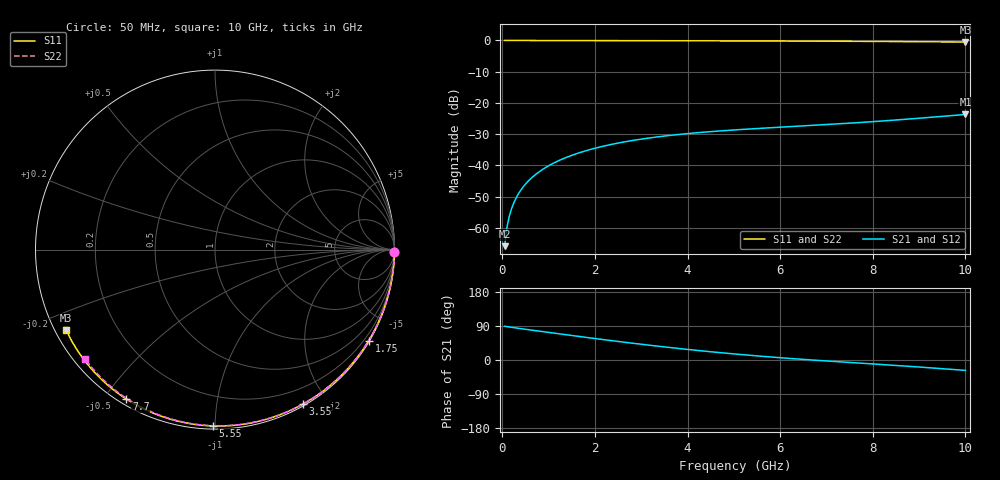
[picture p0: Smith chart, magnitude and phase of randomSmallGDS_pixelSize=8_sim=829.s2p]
! freq	dB(S11)	phase(S11)	dB(S12)	phase(S12)
!  dB(S21)	phase(S21)	dB(S22)	phase(S22)
!S-par simulation data
#  GHz  S  DB  R 50
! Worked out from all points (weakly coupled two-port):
!   200 points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, 50 MHz to 10 GHz, reference 50 ohm
!   highest |S21| = -23.71 dB at 10 GHz (marker M1); lowest = -65.9 dB at 50 MHz (marker M2)
!   lowest |S11| = -0.5 dB at 10 GHz (marker M3), VSWR 33.95, Z = 1.57 - j12.7 ohm
!   |S11| at or under -10 dB: nowhere
!   |S22| runs from -0.5 to 0.0 dB; largest |S21 - S12| = 0
!   S11 on the Smith chart (normalised r, x): 50 MHz: open; 1.75 GHz: 0.03, -3.66; 3.55 GHz: 0.02, -1.72; 5.55 GHz: 0.02, -0.99; 7.7 GHz: 0.02, -0.57; 10 GHz: 0.03, -0.25
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0.05  -0.00 -0.9  -65.91 89.0  -65.91 89.0  -0.00 -0.8
0.1  -0.00 -1.8  -59.89 88.0  -59.89 88.0  -0.00 -1.7
0.15  -0.00 -2.7  -56.38 87.1  -56.38 87.1  -0.00 -2.5
0.2  -0.00 -3.6  -53.90 86.2  -53.90 86.2  -0.00 -3.3
0.25  -0.00 -4.4  -51.98 85.3  -51.98 85.3  -0.00 -4.1
0.35  -0.00 -6.2  -49.09 83.6  -49.09 83.6  -0.00 -5.8
0.5  -0.01 -8.9  -46.04 81.0  -46.04 81.0  -0.01 -8.2
0.7  -0.01 -12.4  -43.17 77.7  -43.17 77.7  -0.01 -11.5
1  -0.02 -17.6  -40.15 72.8  -40.15 72.8  -0.02 -16.3
1.35  -0.03 -23.7  -37.66 67.1  -37.66 67.1  -0.03 -22.0
1.75  -0.04 -30.6  -35.57 60.6  -35.57 60.6  -0.04 -28.3
2.5  -0.06 -43.2  -32.87 48.9  -32.87 48.9  -0.05 -40.1
3.4  -0.08 -57.9  -30.80 35.9  -30.80 35.9  -0.07 -53.8
3.55  -0.08 -60.3  -30.54 33.8  -30.54 33.8  -0.08 -56.0
4.3  -0.11 -72.1  -29.45 24.2  -29.45 24.2  -0.10 -66.9
5.05  -0.13 -83.4  -28.63 15.5  -28.63 15.5  -0.12 -77.5
5.55  -0.15 -90.7  -28.17 10.3  -28.17 10.3  -0.14 -84.3
6.7  -0.21 -107.0  -27.22 -0.1  -27.22 -0.1  -0.20 -99.4
7.7  -0.28 -120.6  -26.32 -8.0  -26.32 -8.0  -0.26 -112.0
8.35  -0.33 -129.4  -25.65 -13.2  -25.65 -13.2  -0.31 -119.9
9.2  -0.42 -140.7  -24.68 -20.2  -24.68 -20.2  -0.39 -130.2
10  -0.51 -151.5  -23.71 -27.5  -23.71 -27.5  -0.47 -139.7
